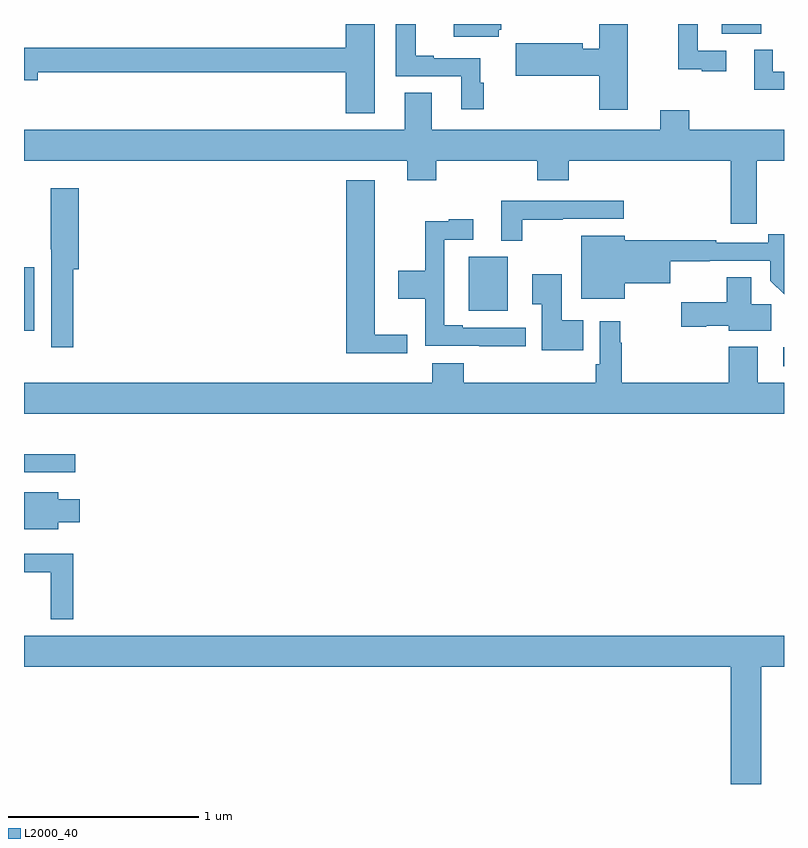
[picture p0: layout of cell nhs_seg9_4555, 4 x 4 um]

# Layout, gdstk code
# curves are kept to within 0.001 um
import gdstk
lib = gdstk.Library(unit=1e-6, precision=1e-09)
def R(c, l, rs):  # rectangles x0, y0, x1, y1
    for r in rs: c.add(gdstk.rectangle(r[:2], r[2:], *l))
def P(c, l, *ps):  # polygons
    for p in ps: c.add(gdstk.Polygon(p, *l))
L2000_40 = (2000, 40)

nhs_seg9_4555 = lib.new_cell('nhs_seg9_4555')
R(nhs_seg9_4555, L2000_40, [(373,1168.14,373.27,1168.236), (376.997,1168.698,377,1168.8), (373,1168.886,373.053,1169.221), (375.341,1168.991,375.547,1169.275), (376.673,1170.449,376.879,1170.5)])
P(nhs_seg9_4555, L2000_40, [(376.696,1170.36),(376.545,1170.36),(376.545,1170.5),(376.444,1170.5),(376.444,1170.263),(376.568,1170.263),(376.568,1170.252),(376.696,1170.252)],
  [(376.177,1170.5),(376.028,1170.5),(376.028,1170.37),(375.94,1170.37),(375.94,1170.398),(375.588,1170.398),(375.588,1170.227),(376.028,1170.227),(376.028,1170.048),(376.177,1170.048)],
  [(375.499,1170.471),(375.512,1170.471),(375.512,1170.5),(375.263,1170.5),(375.263,1170.434),(375.499,1170.434)],
  [(375.419,1170.191),(375.401,1170.191),(375.401,1170.321),(375.157,1170.321),(375.157,1170.334),(375.061,1170.334),(375.061,1170.5),(374.957,1170.5),(374.957,1170.225),(375.302,1170.225),(375.302,1170.051),(375.419,1170.051)],
  [(374.845,1170.5),(374.693,1170.5),(374.693,1170.374),(373,1170.374),(373,1170.203),(373.072,1170.203),(373.072,1170.246),(374.693,1170.246),(374.693,1170.029),(374.845,1170.029)],
  [(377,1170.249),(376.941,1170.249),(376.941,1170.364),(376.844,1170.364),(376.844,1170.153),(377,1170.153)],
  [(376.856,1169.78),(377,1169.78),(377,1169.944),(376.502,1169.944),(376.502,1170.046),(376.349,1170.046),(376.349,1169.944),(375.145,1169.944),(375.145,1170.139),(375.005,1170.139),(375.005,1169.944),(373,1169.944),(373,1169.78),(375.017,1169.78),(375.017,1169.678),(375.17,1169.678),(375.17,1169.78),(375.701,1169.78),(375.701,1169.678),(375.866,1169.678),(375.866,1169.78),(376.72,1169.78),(376.72,1169.448),(376.856,1169.448)],
  [(375.016,1168.865),(374.845,1168.865),(374.845,1169.677),(374.696,1169.677),(374.696,1168.766),(375.016,1168.766)],
  [(373.259,1169.21),(373.289,1169.21),(373.289,1169.635),(373.142,1169.635),(373.142,1169.314),(373.143,1169.314),(373.143,1168.8),(373.259,1168.8)],
  [(375.622,1169.47),(375.836,1169.47),(375.836,1169.475),(376.156,1169.475),(376.156,1169.571),(375.512,1169.571),(375.512,1169.36),(375.622,1169.36)],
  [(375.64,1168.902),(375.31,1168.902),(375.31,1168.915),(375.213,1168.915),(375.213,1169.364),(375.364,1169.364),(375.364,1169.473),(375.236,1169.473),(375.236,1169.462),(375.112,1169.462),(375.112,1169.202),(374.97,1169.202),(374.97,1169.054),(375.112,1169.054),(375.112,1168.806),(375.397,1168.806),(375.397,1168.805),(375.64,1168.805)],
  [(376.162,1169.135),(376.402,1169.135),(376.402,1169.252),(376.928,1169.253),(376.928,1169.15),(377,1169.078),(377,1169.393),(376.916,1169.393),(376.916,1169.349),(376.643,1169.349),(376.643,1169.362),(376.162,1169.362),(376.162,1169.386),(375.932,1169.386),(375.932,1169.054),(376.162,1169.054)],
  [(375.944,1168.942),(375.829,1168.942),(375.829,1169.182),(375.675,1169.182),(375.675,1169.026),(375.725,1169.026),(375.725,1168.784),(375.944,1168.784)],
  [(376.933,1169.024),(376.828,1169.024),(376.828,1169.168),(376.699,1169.168),(376.699,1169.035),(376.458,1169.035),(376.458,1168.906),(376.59,1168.906),(376.59,1168.913),(376.71,1168.913),(376.71,1168.886),(376.933,1168.886)],
  [(377,1168.612),(376.861,1168.612),(376.861,1168.801),(376.709,1168.801),(376.709,1168.612),(376.145,1168.612),(376.145,1168.823),(376.138,1168.823),(376.138,1168.936),(376.029,1168.936),(376.029,1168.708),(376.009,1168.708),(376.009,1168.612),(375.314,1168.612),(375.314,1168.714),(375.149,1168.714),(375.149,1168.612),(373,1168.612),(373,1168.448),(377,1168.448)],
  [(373.18,1167.878),(373.294,1167.878),(373.294,1168),(373.18,1168),(373.18,1168.036),(373,1168.036),(373,1167.842),(373.18,1167.842)],
  [(373.259,1167.712),(373,1167.712),(373,1167.615),(373.142,1167.615),(373.142,1167.366),(373.259,1167.366)],
  [(376.881,1167.116),(377,1167.116),(377,1167.28),(373,1167.28),(373,1167.116),(376.721,1167.116),(376.721,1166.5),(376.881,1166.5)])

lib.write_gds('nhs_seg9_4555.gds')
